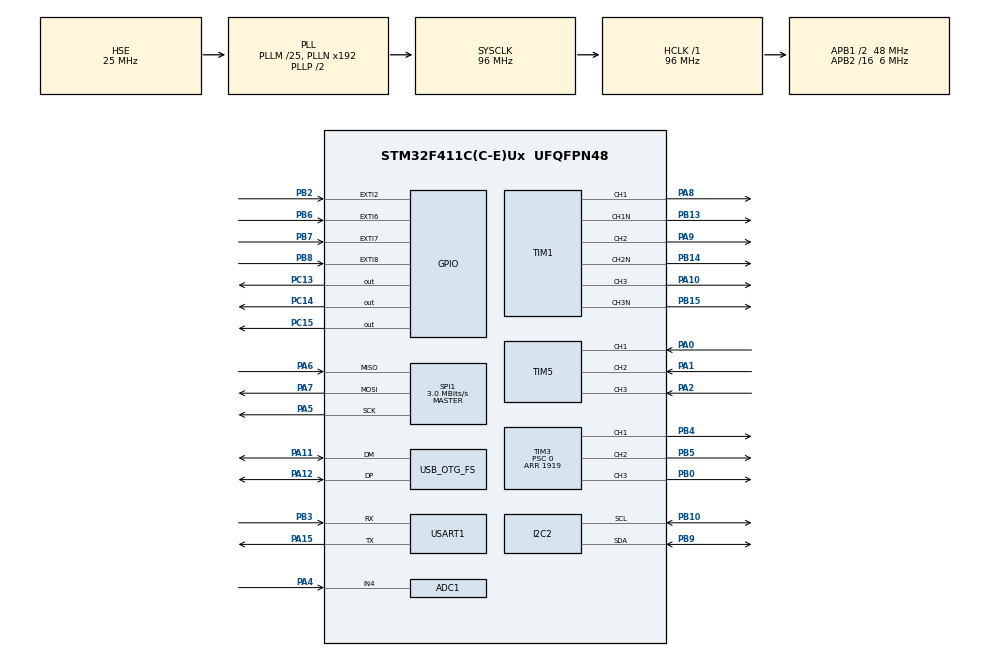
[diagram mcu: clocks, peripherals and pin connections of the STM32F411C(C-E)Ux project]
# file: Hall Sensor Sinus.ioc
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ADC1.Channel-1\#ChannelRegularConversion=ADC_CHANNEL_4
ADC1.NbrOfConversionFlag=1
ADC1.Rank-1\#ChannelRegularConversion=1
ADC1.SamplingTime-1\#ChannelRegularConversion=ADC_SAMPLETIME_3CYCLES
ADC1.master=1
Mcu.Family=STM32F4
Mcu.Name=STM32F411C(C-E)Ux
Mcu.Package=UFQFPN48
NVIC.EXTI9_5_IRQn=true\:0\:0\:false\:false\:true\:true\:true\:true
NVIC.OTG_FS_IRQn=true\:0\:0\:false\:false\:true\:false\:true\:true
NVIC.PriorityGroup=NVIC_PRIORITYGROUP_4
NVIC.TIM1_BRK_TIM9_IRQn=true\:0\:0\:false\:false\:true\:true\:true\:true
NVIC.TIM1_UP_TIM10_IRQn=true\:0\:0\:false\:false\:true\:true\:true\:true
PA0-WKUP.Signal=S_TIM5_CH1
PA1.Signal=S_TIM5_CH2
PA10.Signal=S_TIM1_CH3
PA11.Mode=Device_Only
PA11.Signal=USB_OTG_FS_DM
PA12.Mode=Device_Only
PA12.Signal=USB_OTG_FS_DP
PA13.Mode=Serial_Wire
PA13.Signal=SYS_JTMS-SWDIO
PA14.Mode=Serial_Wire
PA14.Signal=SYS_JTCK-SWCLK
PA15.Mode=Asynchronous
PA15.Signal=USART1_TX
PA2.Signal=S_TIM5_CH3
PA4.Signal=ADCx_IN4
PA5.Mode=Full_Duplex_Master
PA5.Signal=SPI1_SCK
PA6.Mode=Full_Duplex_Master
PA6.Signal=SPI1_MISO
PA7.Mode=Full_Duplex_Master
PA7.Signal=SPI1_MOSI
PA8.Signal=S_TIM1_CH1
PA9.Signal=S_TIM1_CH2
PB0.Signal=S_TIM3_CH3
PB10.Mode=I2C
PB10.Signal=I2C2_SCL
PB13.Mode=Output Compare1 CH1 CH1N
PB13.Signal=TIM1_CH1N
PB14.Mode=Output Compare2 CH2 CH2N
PB14.Signal=TIM1_CH2N
PB15.Mode=Output Compare3 CH3 CH3N
PB15.Signal=TIM1_CH3N
PB2.Signal=GPXTI2
PB3.Mode=Asynchronous
PB3.Signal=USART1_RX
PB4.Signal=S_TIM3_CH1
PB5.Signal=S_TIM3_CH2
PB6.GPIO_ModeDefaultEXTI=GPIO_MODE_IT_RISING_FALLING
PB6.Signal=GPXTI6
PB7.GPIO_ModeDefaultEXTI=GPIO_MODE_IT_RISING_FALLING
PB7.Signal=GPXTI7
PB8.Signal=GPXTI8
PB9.Mode=I2C
PB9.Signal=I2C2_SDA
PC13-ANTI_TAMP.Signal=GPIO_Output
PC14-OSC32_IN.Signal=GPIO_Output
PC15-OSC32_OUT.Signal=GPIO_Output
PH0\ -\ OSC_IN.Mode=HSE-External-Oscillator
PH0\ -\ OSC_IN.Signal=RCC_OSC_IN
PH1\ -\ OSC_OUT.Mode=HSE-External-Oscillator
PH1\ -\ OSC_OUT.Signal=RCC_OSC_OUT
ProjectManager.HeapSize=0x200
ProjectManager.StackSize=0x400
ProjectManager.TargetToolchain=STM32CubeIDE
RCC.48MHZClocksFreq_Value=48000000
RCC.AHBFreq_Value=96000000
RCC.APB1CLKDivider=RCC_HCLK_DIV2
RCC.APB1Freq_Value=48000000
RCC.APB1TimFreq_Value=96000000
RCC.APB2CLKDivider=RCC_HCLK_DIV16
RCC.APB2Freq_Value=6000000
RCC.APB2TimFreq_Value=12000000
RCC.CortexFreq_Value=96000000
RCC.HCLKFreq_Value=96000000
RCC.HSE_VALUE=25000000
RCC.HSI_VALUE=16000000
RCC.LSE_VALUE=32768
RCC.PLLM=25
RCC.SYSCLKFreq_VALUE=96000000
RCC.SYSCLKSource=RCC_SYSCLKSOURCE_PLLCLK
RCC.VCOOutputFreq_Value=192000000
SH.ADCx_IN4.0=ADC1_IN4,IN4
SH.S_TIM1_CH1.0=TIM1_CH1,Output Compare1 CH1 CH1N
SH.S_TIM1_CH2.0=TIM1_CH2,Output Compare2 CH2 CH2N
SH.S_TIM1_CH3.0=TIM1_CH3,Output Compare3 CH3 CH3N
SH.S_TIM3_CH1.0=TIM3_CH1,PWM Generation1 CH1
SH.S_TIM3_CH2.0=TIM3_CH2,PWM Generation2 CH2
SH.S_TIM3_CH3.0=TIM3_CH3,PWM Generation3 CH3
SH.S_TIM5_CH1.0=TIM5_CH1,Xored_Inputs_Hall_Sensor_Interface
SH.S_TIM5_CH2.0=TIM5_CH2,Xored_Inputs_Hall_Sensor_Interface
SH.S_TIM5_CH3.0=TIM5_CH3,Xored_Inputs_Hall_Sensor_Interface
SPI1.BaudRatePrescaler=SPI_BAUDRATEPRESCALER_2
SPI1.CalculateBaudRate=3.0 MBits/s
SPI1.Direction=SPI_DIRECTION_2LINES
SPI1.Mode=SPI_MODE_MASTER
SPI1.VirtualType=VM_MASTER
TIM1.Channel-Output\ Compare1\ CH1\ CH1N=TIM_CHANNEL_1
TIM1.Channel-Output\ Compare2\ CH2\ CH2N=TIM_CHANNEL_2
TIM1.Channel-Output\ Compare3\ CH3\ CH3N=TIM_CHANNEL_3
TIM10.Channel=TIM_CHANNEL_1
TIM10.Period=1
TIM10.Prescaler=65535
TIM3.AutoReloadPreload=TIM_AUTORELOAD_PRELOAD_ENABLE
TIM3.Channel-PWM\ Generation1\ CH1=TIM_CHANNEL_1
TIM3.Channel-PWM\ Generation2\ CH2=TIM_CHANNEL_2
TIM3.Channel-PWM\ Generation3\ CH3=TIM_CHANNEL_3
TIM3.OC1Preload_PWM=DISABLE
TIM3.OC2Preload_PWM=ENABLE
TIM3.OC3Preload_PWM=ENABLE
TIM3.OCPolarity_1=TIM_OCPOLARITY_HIGH
TIM3.OCPolarity_2=TIM_OCPOLARITY_HIGH
TIM3.OCPolarity_3=TIM_OCPOLARITY_HIGH
TIM3.Period=1919
TIM3.Prescaler=0
TIM3.Pulse-PWM\ Generation1\ CH1=0
TIM3.Pulse-PWM\ Generation2\ CH2=0
TIM3.Pulse-PWM\ Generation3\ CH3=0
TIM3.TIM_MasterOutputTrigger=TIM_TRGO_UPDATE
TIM3.TIM_MasterSlaveMode=TIM_MASTERSLAVEMODE_ENABLE
TIM9.Channel-Output\ Compare1\ No\ Output=TIM_CHANNEL_1
TIM9.Period=999
TIM9.Prescaler=1199
USART1.VirtualMode=VM_ASYNC
USB_DEVICE.CLASS_NAME_FS=CDC
USB_DEVICE.VirtualMode=Cdc
USB_DEVICE.VirtualModeFS=Cdc_FS
USB_OTG_FS.VirtualMode=Device_Only
VP_TIM10_VS_ClockSourceINT.Mode=Enable_Timer
VP_TIM10_VS_no_output1.Mode=Output Compare1 No Output
VP_TIM9_VS_no_output1.Mode=Output Compare1 No Output
VP_USB_DEVICE_VS_USB_DEVICE_CDC_FS.Mode=CDC_FS
board=custom

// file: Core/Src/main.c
/* USER CODE BEGIN Header */
/**
  ******************************************************************************
  * @file           : main.c
  * @brief          : Main program body
  ******************************************************************************
  * @attention
  *
  * Copyright (c) 2024 STMicroelectronics.
  * All rights reserved.
  *
  * This software is licensed under terms that can be found in the LICENSE file
  * in the root directory of this software component.
  * If no LICENSE file comes with this software, it is provided AS-IS.
  *
  ******************************************************************************
  */
/* USER CODE END Header */
#include "main.h"
#include "usb_device.h"

/* USER CODE BEGIN Includes */

#include <math.h>
#include <stdio.h>

/* USER CODE END Includes */

/* USER CODE BEGIN PD */

  // All defines are in "main.h"

/* USER CODE END PD */

ADC_HandleTypeDef hadc1;

I2C_HandleTypeDef hi2c2;

SPI_HandleTypeDef hspi1;

TIM_HandleTypeDef htim1;
TIM_HandleTypeDef htim3;
TIM_HandleTypeDef htim5;
TIM_HandleTypeDef htim9;
TIM_HandleTypeDef htim10;

UART_HandleTypeDef huart1;

/* USER CODE BEGIN PV */

int PWMPulse = 50, PSC_Constante = 0;
uint32_t WantedRPM = 0, NewRPM = 0, CurrentRPM = 0;
double sintab[AANTAL_TIJDSTAPPEN];

extern int j;
extern uint16_t RPM;

/* USER CODE END PV */

void SystemClock_Config(void);
static void MX_GPIO_Init(void);
static void MX_ADC1_Init(void);
static void MX_TIM3_Init(void);
static void MX_I2C2_Init(void);
static void MX_TIM5_Init(void);
static void MX_SPI1_Init(void);
static void MX_TIM9_Init(void);
static void MX_TIM10_Init(void);
static void MX_TIM1_Init(void);
static void MX_USART1_UART_Init(void);
/* USER CODE BEGIN PFP */

extern uint8_t CDC_Transmit_FS(uint8_t* buf, uint16_t len);

/* USER CODE END PFP */

int main(void)
{

  /* MCU Configuration--------------------------------------------------------*/

  /* Reset of all peripherals, Initializes the Flash interface and the Systick. */
  HAL_Init();

  /* Configure the system clock */
  SystemClock_Config();

  /* Initialize all configured peripherals */
  MX_GPIO_Init();
  MX_ADC1_Init();
  MX_TIM3_Init();
  MX_I2C2_Init();
  MX_TIM5_Init();
  MX_SPI1_Init();
  MX_USB_DEVICE_Init();
  MX_TIM9_Init();
  MX_TIM10_Init();
  MX_TIM1_Init();
  MX_USART1_UART_Init();
  /* USER CODE BEGIN 2 */

	// Activate necessary timers.
	HAL_TIM_OC_Start(&htim9, TIM_CHANNEL_1);
	HAL_TIM_OC_Start(&htim10, TIM_CHANNEL_1);
	HAL_TIM_PWM_Start(&htim3, TIM_CHANNEL_1);
	HAL_TIM_PWM_Start(&htim3, TIM_CHANNEL_2);
	HAL_TIM_PWM_Start(&htim3, TIM_CHANNEL_3);

	// Start Interrupts
	HAL_TIM_Base_Start_IT(&htim9);
	HAL_TIM_Base_Start_IT(&htim10);

	// Fill sintab array
	for (int i = 0; i < AANTAL_TIJDSTAPPEN; i++) {
	  sintab[i] = sin(i*2*M_PI/AANTAL_TIJDSTAPPEN) * 0.5 + 0.5;
	}

	// Enable Gate Drivers.
	GPIOC->ODR = 0xE000;

  /*
  GPIOC->ODR = GPIOB->IDR << 8;

  switch (GPIOB->IDR >> 5 & 0b111) {
	case 0b110:
		TIM3->CCR1 = 0;
		TIM3->CCR2 = PWMPulse;
		TIM3->CCR3 = 200;
		break;

	case 0b010:
		TIM3->CCR1 = 200;
		TIM3->CCR2 = PWMPulse;
		TIM3->CCR3 = 0;
		break;

	case 0b011:
		TIM3->CCR1 = 200;
		TIM3->CCR2 = 0;
		TIM3->CCR3 = PWMPulse;
		break;

	case 0b001:
		TIM3->CCR1 = 0;
		TIM3->CCR2 = 200;
		TIM3->CCR3 = PWMPulse;
		break;

	case 0b101:
		TIM3->CCR1 = PWMPulse;
		TIM3->CCR2 = 200;
		TIM3->CCR3 = 0;
		break;

	case 0b100:
		TIM3->CCR1 = PWMPulse;
		TIM3->CCR2 = 0;
		TIM3->CCR3 = 200;
		break;

	default:
		TIM3->CCR1 = 0;
		TIM3->CCR2 = 0;
		TIM3->CCR3 = 0;
		break;
  }
  */

  /* USER CODE END 2 */

  /* Infinite loop */
  /* USER CODE BEGIN WHILE */

  // Startup Sequence

  while (1)
  {

	HAL_ADC_Start(&hadc1);
	HAL_ADC_PollForConversion(&hadc1, HAL_MAX_DELAY);
	WantedRPM = HAL_ADC_GetValue(&hadc1);

	if (WantedRPM < MinimumRPM) {
		WantedRPM = MinimumRPM;
	}

	// Set PSC to appropriate value for RPM
	TIM10->PSC = (15 * Fapb2clk) / (256 * WantedRPM) - 1;

	// Send RPM data to PC
	char buf[64];
	uint16_t len = snprintf(buf, sizeof(buf), "\n\rWanted RPM / Current RPM: %d / %d", WantedRPM, CurrentRPM);
	CDC_Transmit_FS((uint8_t *) buf, len);
	HAL_Delay(10);

    /* USER CODE END WHILE */

  }
}

void SystemClock_Config(void)
{
  RCC_OscInitTypeDef RCC_OscInitStruct = {0};
  RCC_ClkInitTypeDef RCC_ClkInitStruct = {0};

  /** Configure the main internal regulator output voltage
  */
  __HAL_RCC_PWR_CLK_ENABLE();
  __HAL_PWR_VOLTAGESCALING_CONFIG(PWR_REGULATOR_VOLTAGE_SCALE1);

  /** Initializes the RCC Oscillators according to the specified parameters
  * in the RCC_OscInitTypeDef structure.
  */
  RCC_OscInitStruct.OscillatorType = RCC_OSCILLATORTYPE_HSE;
  RCC_OscInitStruct.HSEState = RCC_HSE_ON;
  RCC_OscInitStruct.PLL.PLLState = RCC_PLL_ON;
  RCC_OscInitStruct.PLL.PLLSource = RCC_PLLSOURCE_HSE;
  RCC_OscInitStruct.PLL.PLLM = 25;
  RCC_OscInitStruct.PLL.PLLN = 192;
  RCC_OscInitStruct.PLL.PLLP = RCC_PLLP_DIV2;
  RCC_OscInitStruct.PLL.PLLQ = 4;
  if (HAL_RCC_OscConfig(&RCC_OscInitStruct) != HAL_OK)
  {
    Error_Handler();
  }

  /** Initializes the CPU, AHB and APB buses clocks
  */
  RCC_ClkInitStruct.ClockType = RCC_CLOCKTYPE_HCLK|RCC_CLOCKTYPE_SYSCLK
                              |RCC_CLOCKTYPE_PCLK1|RCC_CLOCKTYPE_PCLK2;
  RCC_ClkInitStruct.SYSCLKSource = RCC_SYSCLKSOURCE_PLLCLK;
  RCC_ClkInitStruct.AHBCLKDivider = RCC_SYSCLK_DIV1;
  RCC_ClkInitStruct.APB1CLKDivider = RCC_HCLK_DIV2;
  RCC_ClkInitStruct.APB2CLKDivider = RCC_HCLK_DIV16;

  if (HAL_RCC_ClockConfig(&RCC_ClkInitStruct, FLASH_LATENCY_3) != HAL_OK)
  {
    Error_Handler();
  }
}

static void MX_ADC1_Init(void)
{

  ADC_ChannelConfTypeDef sConfig = {0};

  /** Configure the global features of the ADC (Clock, Resolution, Data Alignment and number of conversion)
  */
  hadc1.Instance = ADC1;
  hadc1.Init.ClockPrescaler = ADC_CLOCK_SYNC_PCLK_DIV2;
  hadc1.Init.Resolution = ADC_RESOLUTION_12B;
  hadc1.Init.ScanConvMode = DISABLE;
  hadc1.Init.ContinuousConvMode = DISABLE;
  hadc1.Init.DiscontinuousConvMode = DISABLE;
  hadc1.Init.ExternalTrigConvEdge = ADC_EXTERNALTRIGCONVEDGE_NONE;
  hadc1.Init.ExternalTrigConv = ADC_SOFTWARE_START;
  hadc1.Init.DataAlign = ADC_DATAALIGN_RIGHT;
  hadc1.Init.NbrOfConversion = 1;
  hadc1.Init.DMAContinuousRequests = DISABLE;
  hadc1.Init.EOCSelection = ADC_EOC_SINGLE_CONV;
  if (HAL_ADC_Init(&hadc1) != HAL_OK)
  {
    Error_Handler();
  }

  /** Configure for the selected ADC regular channel its corresponding rank in the sequencer and its sample time.
  */
  sConfig.Channel = ADC_CHANNEL_4;
  sConfig.Rank = 1;
  sConfig.SamplingTime = ADC_SAMPLETIME_3CYCLES;
  if (HAL_ADC_ConfigChannel(&hadc1, &sConfig) != HAL_OK)
  {
    Error_Handler();
  }

}

static void MX_I2C2_Init(void)
{

  hi2c2.Instance = I2C2;
  hi2c2.Init.ClockSpeed = 100000;
  hi2c2.Init.DutyCycle = I2C_DUTYCYCLE_2;
  hi2c2.Init.OwnAddress1 = 0;
  hi2c2.Init.AddressingMode = I2C_ADDRESSINGMODE_7BIT;
  hi2c2.Init.DualAddressMode = I2C_DUALADDRESS_DISABLE;
  hi2c2.Init.OwnAddress2 = 0;
  hi2c2.Init.GeneralCallMode = I2C_GENERALCALL_DISABLE;
  hi2c2.Init.NoStretchMode = I2C_NOSTRETCH_DISABLE;
  if (HAL_I2C_Init(&hi2c2) != HAL_OK)
  {
    Error_Handler();
  }

}

static void MX_SPI1_Init(void)
{

  /* SPI1 parameter configuration*/
  hspi1.Instance = SPI1;
  hspi1.Init.Mode = SPI_MODE_MASTER;
  hspi1.Init.Direction = SPI_DIRECTION_2LINES;
  hspi1.Init.DataSize = SPI_DATASIZE_8BIT;
  hspi1.Init.CLKPolarity = SPI_POLARITY_LOW;
  hspi1.Init.CLKPhase = SPI_PHASE_1EDGE;
  hspi1.Init.NSS = SPI_NSS_SOFT;
  hspi1.Init.BaudRatePrescaler = SPI_BAUDRATEPRESCALER_2;
  hspi1.Init.FirstBit = SPI_FIRSTBIT_MSB;
  hspi1.Init.TIMode = SPI_TIMODE_DISABLE;
  hspi1.Init.CRCCalculation = SPI_CRCCALCULATION_DISABLE;
  hspi1.Init.CRCPolynomial = 10;
  if (HAL_SPI_Init(&hspi1) != HAL_OK)
  {
    Error_Handler();
  }

}

static void MX_TIM1_Init(void)
{

  TIM_MasterConfigTypeDef sMasterConfig = {0};
  TIM_OC_InitTypeDef sConfigOC = {0};
  TIM_BreakDeadTimeConfigTypeDef sBreakDeadTimeConfig = {0};

  htim1.Instance = TIM1;
  htim1.Init.Prescaler = 0;
  htim1.Init.CounterMode = TIM_COUNTERMODE_UP;
  htim1.Init.Period = 65535;
  htim1.Init.ClockDivision = TIM_CLOCKDIVISION_DIV1;
  htim1.Init.RepetitionCounter = 0;
  htim1.Init.AutoReloadPreload = TIM_AUTORELOAD_PRELOAD_DISABLE;
  if (HAL_TIM_OC_Init(&htim1) != HAL_OK)
  {
    Error_Handler();
  }
  sMasterConfig.MasterOutputTrigger = TIM_TRGO_RESET;
  sMasterConfig.MasterSlaveMode = TIM_MASTERSLAVEMODE_DISABLE;
  if (HAL_TIMEx_MasterConfigSynchronization(&htim1, &sMasterConfig) != HAL_OK)
  {
    Error_Handler();
  }
  sConfigOC.OCMode = TIM_OCMODE_TIMING;
  sConfigOC.Pulse = 0;
  sConfigOC.OCPolarity = TIM_OCPOLARITY_HIGH;
  sConfigOC.OCNPolarity = TIM_OCNPOLARITY_HIGH;
  sConfigOC.OCFastMode = TIM_OCFAST_DISABLE;
  sConfigOC.OCIdleState = TIM_OCIDLESTATE_RESET;
  sConfigOC.OCNIdleState = TIM_OCNIDLESTATE_RESET;
  if (HAL_TIM_OC_ConfigChannel(&htim1, &sConfigOC, TIM_CHANNEL_1) != HAL_OK)
  {
    Error_Handler();
  }
  if (HAL_TIM_OC_ConfigChannel(&htim1, &sConfigOC, TIM_CHANNEL_2) != HAL_OK)
  {
    Error_Handler();
  }
  if (HAL_TIM_OC_ConfigChannel(&htim1, &sConfigOC, TIM_CHANNEL_3) != HAL_OK)
  {
    Error_Handler();
  }
  sBreakDeadTimeConfig.OffStateRunMode = TIM_OSSR_DISABLE;
  sBreakDeadTimeConfig.OffStateIDLEMode = TIM_OSSI_DISABLE;
  sBreakDeadTimeConfig.LockLevel = TIM_LOCKLEVEL_OFF;
  sBreakDeadTimeConfig.DeadTime = 0;
  sBreakDeadTimeConfig.BreakState = TIM_BREAK_DISABLE;
  sBreakDeadTimeConfig.BreakPolarity = TIM_BREAKPOLARITY_HIGH;
  sBreakDeadTimeConfig.AutomaticOutput = TIM_AUTOMATICOUTPUT_DISABLE;
  if (HAL_TIMEx_ConfigBreakDeadTime(&htim1, &sBreakDeadTimeConfig) != HAL_OK)
  {
    Error_Handler();
  }
  HAL_TIM_MspPostInit(&htim1);

}

static void MX_TIM3_Init(void)
{

  TIM_MasterConfigTypeDef sMasterConfig = {0};
  TIM_OC_InitTypeDef sConfigOC = {0};

  htim3.Instance = TIM3;
  htim3.Init.Prescaler = 0;
  htim3.Init.CounterMode = TIM_COUNTERMODE_UP;
  htim3.Init.Period = 1919;
  htim3.Init.ClockDivision = TIM_CLOCKDIVISION_DIV1;
  htim3.Init.AutoReloadPreload = TIM_AUTORELOAD_PRELOAD_ENABLE;
  if (HAL_TIM_PWM_Init(&htim3) != HAL_OK)
  {
    Error_Handler();
  }
  sMasterConfig.MasterOutputTrigger = TIM_TRGO_UPDATE;
  sMasterConfig.MasterSlaveMode = TIM_MASTERSLAVEMODE_ENABLE;
  if (HAL_TIMEx_MasterConfigSynchronization(&htim3, &sMasterConfig) != HAL_OK)
  {
    Error_Handler();
  }
  sConfigOC.OCMode = TIM_OCMODE_PWM1;
  sConfigOC.Pulse = 0;
  sConfigOC.OCPolarity = TIM_OCPOLARITY_HIGH;
  sConfigOC.OCFastMode = TIM_OCFAST_DISABLE;
  if (HAL_TIM_PWM_ConfigChannel(&htim3, &sConfigOC, TIM_CHANNEL_1) != HAL_OK)
  {
    Error_Handler();
  }
  __HAL_TIM_DISABLE_OCxPRELOAD(&htim3, TIM_CHANNEL_1);
  if (HAL_TIM_PWM_ConfigChannel(&htim3, &sConfigOC, TIM_CHANNEL_2) != HAL_OK)
  {
    Error_Handler();
  }
  if (HAL_TIM_PWM_ConfigChannel(&htim3, &sConfigOC, TIM_CHANNEL_3) != HAL_OK)
  {
    Error_Handler();
  }
  HAL_TIM_MspPostInit(&htim3);

}

static void MX_TIM5_Init(void)
{

  TIM_HallSensor_InitTypeDef sConfig = {0};
  TIM_MasterConfigTypeDef sMasterConfig = {0};

  htim5.Instance = TIM5;
  htim5.Init.Prescaler = 0;
  htim5.Init.CounterMode = TIM_COUNTERMODE_UP;
  htim5.Init.Period = 4294967295;
  htim5.Init.ClockDivision = TIM_CLOCKDIVISION_DIV1;
  htim5.Init.AutoReloadPreload = TIM_AUTORELOAD_PRELOAD_DISABLE;
  sConfig.IC1Polarity = TIM_ICPOLARITY_RISING;
  sConfig.IC1Prescaler = TIM_ICPSC_DIV1;
  sConfig.IC1Filter = 0;
  sConfig.Commutation_Delay = 0;
  if (HAL_TIMEx_HallSensor_Init(&htim5, &sConfig) != HAL_OK)
  {
    Error_Handler();
  }
  sMasterConfig.MasterOutputTrigger = TIM_TRGO_OC2REF;
  sMasterConfig.MasterSlaveMode = TIM_MASTERSLAVEMODE_DISABLE;
  if (HAL_TIMEx_MasterConfigSynchronization(&htim5, &sMasterConfig) != HAL_OK)
  {
    Error_Handler();
  }

}

static void MX_TIM9_Init(void)
{

  TIM_OC_InitTypeDef sConfigOC = {0};

  htim9.Instance = TIM9;
  htim9.Init.Prescaler = 1199;
  htim9.Init.CounterMode = TIM_COUNTERMODE_UP;
  htim9.Init.Period = 999;
  htim9.Init.ClockDivision = TIM_CLOCKDIVISION_DIV1;
  htim9.Init.AutoReloadPreload = TIM_AUTORELOAD_PRELOAD_DISABLE;
  if (HAL_TIM_OC_Init(&htim9) != HAL_OK)
  {
    Error_Handler();
  }
  sConfigOC.OCMode = TIM_OCMODE_TIMING;
  sConfigOC.Pulse = 0;
  sConfigOC.OCPolarity = TIM_OCPOLARITY_HIGH;
  sConfigOC.OCFastMode = TIM_OCFAST_DISABLE;
  if (HAL_TIM_OC_ConfigChannel(&htim9, &sConfigOC, TIM_CHANNEL_1) != HAL_OK)
  {
    Error_Handler();
  }

}

static void MX_TIM10_Init(void)
{

  TIM_OC_InitTypeDef sConfigOC = {0};

  htim10.Instance = TIM10;
  htim10.Init.Prescaler = 65535;
  htim10.Init.CounterMode = TIM_COUNTERMODE_UP;
  htim10.Init.Period = 1;
  htim10.Init.ClockDivision = TIM_CLOCKDIVISION_DIV1;
  htim10.Init.AutoReloadPreload = TIM_AUTORELOAD_PRELOAD_DISABLE;
  if (HAL_TIM_Base_Init(&htim10) != HAL_OK)
  {
    Error_Handler();
  }
  if (HAL_TIM_OC_Init(&htim10) != HAL_OK)
  {
    Error_Handler();
  }
  sConfigOC.OCMode = TIM_OCMODE_TIMING;
  sConfigOC.Pulse = 0;
  sConfigOC.OCPolarity = TIM_OCPOLARITY_HIGH;
  sConfigOC.OCFastMode = TIM_OCFAST_DISABLE;
  if (HAL_TIM_OC_ConfigChannel(&htim10, &sConfigOC, TIM_CHANNEL_1) != HAL_OK)
  {
    Error_Handler();
  }

}

static void MX_USART1_UART_Init(void)
{

  huart1.Instance = USART1;
  huart1.Init.BaudRate = 115200;
  huart1.Init.WordLength = UART_WORDLENGTH_8B;
  huart1.Init.StopBits = UART_STOPBITS_1;
  huart1.Init.Parity = UART_PARITY_NONE;
  huart1.Init.Mode = UART_MODE_TX_RX;
  huart1.Init.HwFlowCtl = UART_HWCONTROL_NONE;
  huart1.Init.OverSampling = UART_OVERSAMPLING_16;
  if (HAL_UART_Init(&huart1) != HAL_OK)
  {
    Error_Handler();
  }

}

static void MX_GPIO_Init(void)
{
  GPIO_InitTypeDef GPIO_InitStruct = {0};

  /* GPIO Ports Clock Enable */
  __HAL_RCC_GPIOC_CLK_ENABLE();
  __HAL_RCC_GPIOH_CLK_ENABLE();
  __HAL_RCC_GPIOA_CLK_ENABLE();
  __HAL_RCC_GPIOB_CLK_ENABLE();

  /*Configure GPIO pin Output Level */
  HAL_GPIO_WritePin(GPIOC, GPIO_PIN_13|GPIO_PIN_14|GPIO_PIN_15, GPIO_PIN_RESET);

  /*Configure GPIO pins : PC13 PC14 PC15 */
  GPIO_InitStruct.Pin = GPIO_PIN_13|GPIO_PIN_14|GPIO_PIN_15;
  GPIO_InitStruct.Mode = GPIO_MODE_OUTPUT_PP;
  GPIO_InitStruct.Pull = GPIO_NOPULL;
  GPIO_InitStruct.Speed = GPIO_SPEED_FREQ_LOW;
  HAL_GPIO_Init(GPIOC, &GPIO_InitStruct);

  /*Configure GPIO pins : PB2 PB8 */
  GPIO_InitStruct.Pin = GPIO_PIN_2|GPIO_PIN_8;
  GPIO_InitStruct.Mode = GPIO_MODE_IT_RISING;
  GPIO_InitStruct.Pull = GPIO_NOPULL;
  HAL_GPIO_Init(GPIOB, &GPIO_InitStruct);

  /*Configure GPIO pins : PB6 PB7 */
  GPIO_InitStruct.Pin = GPIO_PIN_6|GPIO_PIN_7;
  GPIO_InitStruct.Mode = GPIO_MODE_IT_RISING_FALLING;
  GPIO_InitStruct.Pull = GPIO_NOPULL;
  HAL_GPIO_Init(GPIOB, &GPIO_InitStruct);

  /* EXTI interrupt init*/
  HAL_NVIC_SetPriority(EXTI9_5_IRQn, 0, 0);
  HAL_NVIC_EnableIRQ(EXTI9_5_IRQn);

}

void Error_Handler(void)
{
  __disable_irq();
  while (1)
  {
  }
}
